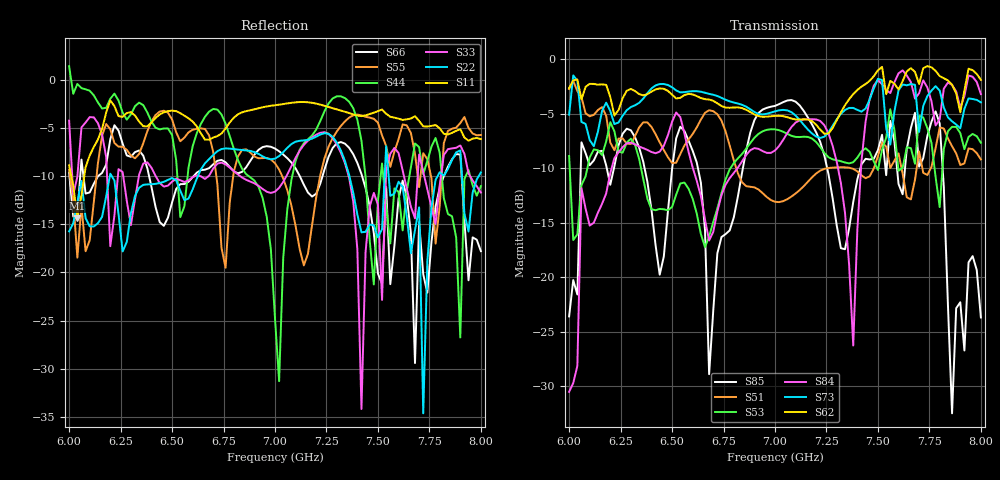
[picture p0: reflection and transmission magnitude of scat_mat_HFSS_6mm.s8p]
! Touchstone file exported from HFSS 2020.1.0
!  File:  D:/Users/rblandin/Documents/Ansoft/scatterer_in_waveguide.aedt
!  Generated:  5:09:17  janv. 16, 2025
!  Design:  HFSSDesign1
!  Project:  scatterer_in_waveguide
!  Setup:  scatmat
!  Solution:  Sweep
! Variables:
!  $height = 6mm
!  $pos_x = 100mm
!  $pos_x_1 = 28.772922mm
!  $pos_x_2 = 55.98679mm
!  $pos_x_3 = 44.27246mm
!  $pos_y = 25mm
!  $pos_y_1 = 43.348048mm
!  $pos_y_2 = 48.8323mm
!  $pos_y_3 = 236.06804mm
!  $radius = 3.1mm
# GHZ S MA R 50.000000
! Terminal data exported
! Port[1] = 1:1
! Port[2] = 1:2
! Port[3] = 1:3
! Port[4] = 1:4
! Port[5] = 2:1
! Port[6] = 2:2
! Port[7] = 2:3
! Port[8] = 2:4
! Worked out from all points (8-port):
!   101 points, 6 GHz to 8 GHz, reference per port
!   strongest paths, dB at 6 GHz, 6.5 GHz, 7 GHz, 7.5 GHz, 8 GHz:
!     S62: -2.6, -3.2, -5.2, -1.0, -1.9
!     S73: -5.1, -2.6, -4.8, -1.8, -3.9
!     S84: -30.5, -5.7, -8.4, -1.9, -3.2
!     S53: -8.9, -13.5, -6.4, -10.2, -7.7
!     S51: -2.7, -9.5, -13.1, -8.9, -9.2
!     S85: -23.6, -10.1, -4.3, -8.3, -23.7
!   lowest |S11| = -14.3 dB at 6.04 GHz (marker M1), VSWR 1.47
!   |S11| at or under -10 dB: 6.011 GHz to 6.074 GHz (62.46 MHz wide, 1.03 % of centre)
